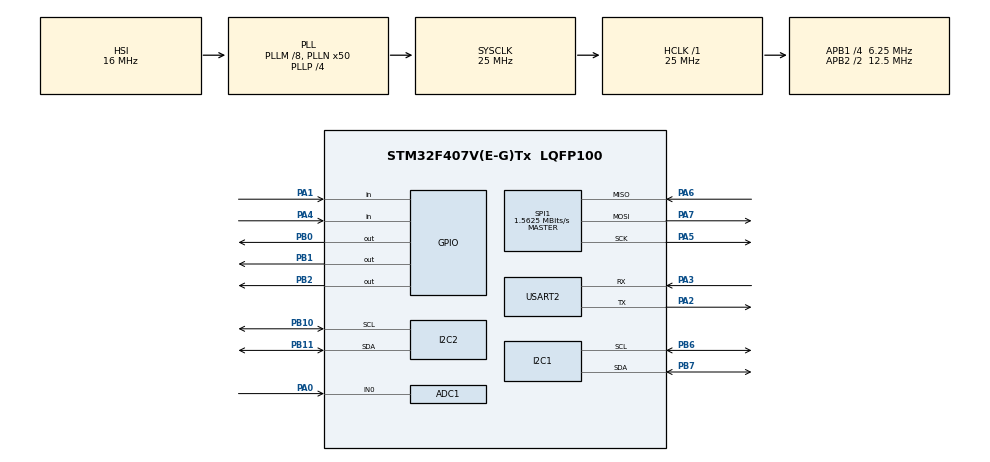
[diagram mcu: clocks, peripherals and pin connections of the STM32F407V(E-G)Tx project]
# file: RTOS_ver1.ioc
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ADC1.Channel-0\#ChannelRegularConversion=ADC_CHANNEL_0
ADC1.DMAContinuousRequests=ENABLE
ADC1.ExternalTrigConv=ADC_EXTERNALTRIGCONV_T2_TRGO
ADC1.NbrOfConversionFlag=1
ADC1.Rank-0\#ChannelRegularConversion=1
ADC1.SamplingTime-0\#ChannelRegularConversion=ADC_SAMPLETIME_3CYCLES
ADC1.master=1
Dma.ADC1.0.Direction=DMA_PERIPH_TO_MEMORY
Dma.ADC1.0.FIFOMode=DMA_FIFOMODE_DISABLE
Dma.ADC1.0.Instance=DMA2_Stream0
Dma.ADC1.0.MemDataAlignment=DMA_MDATAALIGN_HALFWORD
Dma.ADC1.0.MemInc=DMA_MINC_ENABLE
Dma.ADC1.0.Mode=DMA_CIRCULAR
Dma.ADC1.0.PeriphDataAlignment=DMA_PDATAALIGN_HALFWORD
Dma.ADC1.0.PeriphInc=DMA_PINC_DISABLE
Dma.ADC1.0.Priority=DMA_PRIORITY_HIGH
Dma.Request0=ADC1
FREERTOS.Tasks01=defaultTask,24,128,StartDefaultTask,Default,NULL,Dynamic,NULL,NULL
FREERTOS.configUSE_NEWLIB_REENTRANT=1
Mcu.Family=STM32F4
Mcu.Name=STM32F407V(E-G)Tx
Mcu.Package=LQFP100
NVIC.ADC_IRQn=true\:5\:0\:false\:false\:true\:true\:true\:true\:true
NVIC.DMA2_Stream0_IRQn=true\:5\:0\:false\:false\:true\:true\:false\:true\:true
NVIC.PriorityGroup=NVIC_PRIORITYGROUP_4
NVIC.TIM6_DAC_IRQn=true\:15\:0\:false\:false\:true\:false\:false\:true\:true
NVIC.TimeBase=TIM6_DAC_IRQn
NVIC.TimeBaseIP=TIM6
PA0-WKUP.Signal=ADCx_IN0
PA1.Signal=GPIO_Input
PA2.Mode=Asynchronous
PA2.Signal=USART2_TX
PA3.Mode=Asynchronous
PA3.Signal=USART2_RX
PA4.Signal=GPIO_Input
PA5.Mode=Full_Duplex_Master
PA5.Signal=SPI1_SCK
PA6.Mode=Full_Duplex_Master
PA6.Signal=SPI1_MISO
PA7.Mode=Full_Duplex_Master
PA7.Signal=SPI1_MOSI
PB0.GPIO_Speed=GPIO_SPEED_FREQ_HIGH
PB0.Signal=GPIO_Output
PB1.GPIO_Speed=GPIO_SPEED_FREQ_HIGH
PB1.Signal=GPIO_Output
PB10.Mode=I2C
PB10.Signal=I2C2_SCL
PB11.Mode=I2C
PB11.Signal=I2C2_SDA
PB2.GPIO_Speed=GPIO_SPEED_FREQ_HIGH
PB2.Signal=GPIO_Output
PB6.Mode=I2C
PB6.Signal=I2C1_SCL
PB7.Mode=I2C
PB7.Signal=I2C1_SDA
ProjectManager.HeapSize=0x200
ProjectManager.StackSize=0x400
ProjectManager.TargetToolchain=STM32CubeIDE
RCC.48MHZClocksFreq_Value=14285714.285714285
RCC.AHBFreq_Value=25000000
RCC.APB1CLKDivider=RCC_HCLK_DIV4
RCC.APB1Freq_Value=6250000
RCC.APB1TimFreq_Value=12500000
RCC.APB2CLKDivider=RCC_HCLK_DIV2
RCC.APB2Freq_Value=12500000
RCC.APB2TimFreq_Value=25000000
RCC.CortexFreq_Value=25000000
RCC.HCLKFreq_Value=25000000
RCC.HSE_VALUE=8000000
RCC.HSI_VALUE=16000000
RCC.LSE_VALUE=32768
RCC.PLLM=8
RCC.PLLN=50
RCC.PLLP=RCC_PLLP_DIV4
RCC.PLLQ=7
RCC.SYSCLKFreq_VALUE=25000000
RCC.SYSCLKSource=RCC_SYSCLKSOURCE_PLLCLK
RCC.VCOOutputFreq_Value=100000000
SH.ADCx_IN0.0=ADC1_IN0,IN0
SPI1.BaudRatePrescaler=SPI_BAUDRATEPRESCALER_8
SPI1.CalculateBaudRate=1.5625 MBits/s
SPI1.Direction=SPI_DIRECTION_2LINES
SPI1.Mode=SPI_MODE_MASTER
SPI1.VirtualType=VM_MASTER
TIM2.AutoReloadPreload=TIM_AUTORELOAD_PRELOAD_ENABLE
TIM2.Period=3999
TIM2.Prescaler=83
TIM2.TIM_MasterOutputTrigger=TIM_TRGO_UPDATE
USART2.VirtualMode=VM_ASYNC
VP_FREERTOS_VS_CMSIS_V2.Mode=CMSIS_V2
VP_SYS_VS_tim6.Mode=TIM6
VP_TIM2_VS_ClockSourceINT.Mode=Internal
board=STM32F407G-DISC1

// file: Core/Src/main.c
/* USER CODE BEGIN Header */
/**
  ******************************************************************************
  * @file           : main.c
  * @brief          : Main program body
  ******************************************************************************
  * @attention
  *
  * Copyright (c) 2026 STMicroelectronics.
  * All rights reserved.
  *
  * This software is licensed under terms that can be found in the LICENSE file
  * in the root directory of this software component.
  * If no LICENSE file comes with this software, it is provided AS-IS.
  *
  ******************************************************************************
  */
/* USER CODE END Header */
#include "main.h"
#include "cmsis_os.h"

/* USER CODE BEGIN Includes */
#include <stdio.h>
#include <string.h>

#include "FreeRTOS.h"
#include "task.h"
#include "queue.h"
#include "font.h"
#include "mlx90614.h"
#include "st7735.h"     // Replaces character lcd.h with ST7735 SPI Display driver
#include "temperture.h" // Holds TemperatureData_t struct definition
#include "max30102.h"
#include "semphr.h"
#include "ecg.h"

#define FINGER_THRESHOLD 2000

TaskHandle_t TFTTaskHandle = NULL;

/* USER CODE END Includes */

/* USER CODE BEGIN PD */
typedef struct
{
    float objectTemp;
    float ambientTemp;
    uint16_t heartRate;
    float spo2;
    uint16_t ecgVal;
    uint8_t ecgLeadOff;
} SystemData_t;

SystemData_t gSystemData;

/* USER CODE END PD */

ADC_HandleTypeDef hadc1;
DMA_HandleTypeDef hdma_adc1;

I2C_HandleTypeDef hi2c1;
I2C_HandleTypeDef hi2c2;

SPI_HandleTypeDef hspi1;

TIM_HandleTypeDef htim2;

UART_HandleTypeDef huart2;

/* Definitions for defaultTask */
osThreadId_t defaultTaskHandle;
const osThreadAttr_t defaultTask_attributes = {
  .name = "defaultTask",
  .stack_size = 128 * 4,
  .priority = (osPriority_t) osPriorityNormal,
};
/* USER CODE BEGIN PV */
QueueHandle_t xTFTQueue;
QueueHandle_t xUARTQueue;

SemaphoreHandle_t xDataMutex;

TaskHandle_t ECGTaskHandle = NULL;
TaskHandle_t UARTTaskHandle = NULL;

/* USER CODE END PV */

void SystemClock_Config(void);
static void MX_GPIO_Init(void);
static void MX_DMA_Init(void);
static void MX_I2C1_Init(void);
static void MX_SPI1_Init(void);
static void MX_USART2_UART_Init(void);
static void MX_I2C2_Init(void);
static void MX_ADC1_Init(void);
static void MX_TIM2_Init(void);
void StartDefaultTask(void *argument);

/* USER CODE BEGIN PFP */
void vECGTask(void *pvParameters);
void vMax30102Task(void *pvParameters);
void vTemperatureTask(void *pvParameters);
void vTFTTask(void *pvParameters);
void vUARTTask(void *pvParameters);
/* USER CODE END PFP */

/* USER CODE BEGIN 0 */
void vECGTask(void *argument)
{
    ECG_Init(); // Starts TIM2 & ADC DMA

    while(1)
    {
        // Wait for notification from ADC DMA interrupt
        ulTaskNotifyTake(pdTRUE, portMAX_DELAY);

        // Always notify the UART task so vUARTTask can process the DMA buffer
        // and handle lead-off state cleanly ($E,0 or $E,val)
        if(UARTTaskHandle != NULL)
        {
            xTaskNotifyGive(UARTTaskHandle);
        }
    }
}

void vMax30102Task(void *pvParameters)
{
    MAX30102_Data_t sample;

    static uint32_t redBuffer[100];
    static uint32_t irBuffer[100];
    static uint8_t idx = 0;

    while(MAX30102_Init() != HAL_OK)
    {
        HAL_UART_Transmit(&huart2, (uint8_t*)"MAX30102 Init Retry...\r\n", 24, 100);
        HAL_I2C_DeInit(&hi2c1);
        vTaskDelay(pdMS_TO_TICKS(50));
        HAL_I2C_Init(&hi2c1);
        vTaskDelay(pdMS_TO_TICKS(1000));
    }

    while(1)
    {
        if(MAX30102_ReadSample(&sample) == HAL_OK)
        {
            if(sample.ir < FINGER_THRESHOLD)
            {
                xSemaphoreTake(xDataMutex, portMAX_DELAY);

                gSystemData.heartRate = 0;
                gSystemData.spo2 = 0.0f;

                idx = 0;
                memset(redBuffer, 0, sizeof(redBuffer));
                memset(irBuffer, 0, sizeof(irBuffer));

                SystemData_t snapshot = gSystemData;
                xSemaphoreGive(xDataMutex);

                xQueueOverwrite(xTFTQueue, &snapshot);
                xQueueOverwrite(xUARTQueue, &snapshot);

                vTaskDelay(pdMS_TO_TICKS(50));
                continue;
            }

            redBuffer[idx] = sample.red;
            irBuffer[idx]  = sample.ir;

            Calculate_HeartRate(sample.ir);

            xSemaphoreTake(xDataMutex, portMAX_DELAY);
            gSystemData.heartRate = heartRate;

            if(++idx >= 100)
            {
                gSystemData.spo2 = Calculate_SPO2(redBuffer, irBuffer);
                idx = 0;
            }

            SystemData_t snapshot = gSystemData;
            xSemaphoreGive(xDataMutex);

            xQueueOverwrite(xTFTQueue, &snapshot);
            xQueueOverwrite(xUARTQueue, &snapshot);
        }

        vTaskDelay(pdMS_TO_TICKS(20));
    }
}

void vTFTTask(void *pvParameters)
{
    SystemData_t data;
    static SystemData_t oldData = {0};

    ST7735_Init(&hspi1);

    ST7735_FillScreen(ST7735_BLACK);
    ST7735_WriteString(5, 10, "--VITAL MON--", Font_8x12, ST7735_WHITE,  ST7735_BLACK);
    ST7735_WriteString(5, 40, "OBJ :",        Font_8x12, ST7735_WHITE,  ST7735_BLACK);
    ST7735_WriteString(5, 60, "AMB :",        Font_8x12, ST7735_GREEN,  ST7735_BLACK);
    ST7735_WriteString(5, 100,"HR  :",        Font_8x12, ST7735_RED,    ST7735_BLACK);
    ST7735_WriteString(5, 120,"SpO2:",        Font_8x12, ST7735_YELLOW, ST7735_BLACK);

    while(1)
    {
        if(xQueueReceive(xTFTQueue, &data, portMAX_DELAY) == pdPASS)
        {
            char str[32];

            if(oldData.objectTemp != data.objectTemp)
            {
                snprintf(str, sizeof(str), "%.1f C   ", data.objectTemp);
                ST7735_WriteString(45, 40, str, Font_8x12, ST7735_WHITE, ST7735_BLACK);
                oldData.objectTemp = data.objectTemp;
            }

            if(oldData.ambientTemp != data.ambientTemp)
            {
                snprintf(str, sizeof(str), "%.1f C   ", data.ambientTemp);
                ST7735_WriteString(45, 60, str, Font_8x12, ST7735_GREEN, ST7735_BLACK);
                oldData.ambientTemp = data.ambientTemp;
            }

            if(oldData.heartRate != data.heartRate)
            {
                snprintf(str, sizeof(str), "%3d BPM   ", data.heartRate);
                ST7735_WriteString(45, 100, str, Font_8x12, ST7735_RED, ST7735_BLACK);
                oldData.heartRate = data.heartRate;
            }

            if(oldData.spo2 != data.spo2)
            {
                if(data.spo2 == 0.0f)
                {
                    ST7735_WriteString(45, 120, "--- %%    ", Font_8x12, ST7735_YELLOW, ST7735_BLACK);
                }
                else
                {
                    snprintf(str, sizeof(str), "%.1f %%   ", data.spo2);
                    ST7735_WriteString(45, 120, str, Font_8x12, ST7735_YELLOW, ST7735_BLACK);
                }
                oldData.spo2 = data.spo2;
            }
        }
    }
}

void vUARTTask(void *argument)
{
    SystemData_t vitalsSnapshot = {0};
    char txBuffer[96];

    while(1)
    {
        // Clear Overrun Errors on USART2 if any occurred
        if (__HAL_UART_GET_FLAG(&huart2, UART_FLAG_ORE)) {
            __HAL_UART_CLEAR_OREFLAG(&huart2);
        }

        // Non-blocking attempt to refresh latest sensor snapshot
        xQueueReceive(xUARTQueue, &vitalsSnapshot, 0);

        // Wait for DMA half/full transfer notification from ISR
        if(ulTaskNotifyTake(pdTRUE, pdMS_TO_TICKS(10)) > 0)
        {
            uint16_t startIdx = (dmaReady == ECG_FIRST_HALF) ? 0 : ECG_BUFFER_SIZE;

            // Check Lead-Off Detection pins (PA1 = LO+, PA4 = LO-)
            uint8_t isLeadOff = (HAL_GPIO_ReadPin(GPIOA, GPIO_PIN_1) == GPIO_PIN_SET) ||
                                (HAL_GPIO_ReadPin(GPIOA, GPIO_PIN_4) == GPIO_PIN_SET);

            for(int i = startIdx; i < (startIdx + ECG_BUFFER_SIZE); i += 4)
            {
                // Force ADC value to 0 if ECG leads are disconnected
                uint16_t ecgVal = isLeadOff ? 0 : adcBuffer[i];

                int len = snprintf(txBuffer, sizeof(txBuffer),
                                   "$D,%u,%.2f,%.2f,%d,%.2f\r\n",
                                   ecgVal,
                                   vitalsSnapshot.objectTemp,
                                   vitalsSnapshot.ambientTemp,
                                   vitalsSnapshot.heartRate,
                                   vitalsSnapshot.spo2);

                HAL_UART_Transmit(&huart2, (uint8_t*)txBuffer, len, 10);
            }

            dmaReady = ECG_NONE;
        }
    }
}

void vTemperatureTask(void *pvParameters)
{
    while(1)
    {
        float obj = MLX90614_ReadObjectTemp();
        float amb = MLX90614_ReadAmbientTemp();

        if(obj < -100 || amb < -100)
        {
            vTaskDelay(pdMS_TO_TICKS(500));
            continue;
        }

        xSemaphoreTake(xDataMutex, portMAX_DELAY);
        gSystemData.objectTemp = obj;
        gSystemData.ambientTemp = amb;
        SystemData_t snapshot = gSystemData;
        xSemaphoreGive(xDataMutex);

        xQueueOverwrite(xTFTQueue, &snapshot);
        xQueueOverwrite(xUARTQueue, &snapshot);

        vTaskDelay(pdMS_TO_TICKS(500));
    }
}

/* USER CODE END 0 */

int main(void)
{

  /* MCU Configuration--------------------------------------------------------*/

  /* Reset of all peripherals, Initializes the Flash interface and the Systick. */
  HAL_Init();

  /* Configure the system clock */
  SystemClock_Config();

  /* Initialize all configured peripherals */
  MX_GPIO_Init();
  MX_DMA_Init();
  MX_I2C1_Init();
  MX_SPI1_Init();
  MX_USART2_UART_Init();
  MX_I2C2_Init();
  MX_ADC1_Init();
  MX_TIM2_Init();

  /* Init scheduler */
  osKernelInitialize();

  /* USER CODE BEGIN RTOS_QUEUES */
  xTFTQueue  = xQueueCreate(1,sizeof(SystemData_t));
  xUARTQueue = xQueueCreate(1,sizeof(SystemData_t));

  xDataMutex = xSemaphoreCreateMutex();

  if(xTFTQueue==NULL ||
     xUARTQueue==NULL ||
     xDataMutex==NULL)
  {
      Error_Handler();
  }

  /* USER CODE END RTOS_QUEUES */

  /* Create the thread(s) */
  /* creation of defaultTask */
  defaultTaskHandle = osThreadNew(StartDefaultTask, NULL, &defaultTask_attributes);

  /* USER CODE BEGIN RTOS_THREADS */
  memset(&gSystemData, 0, sizeof(gSystemData));
  /* Pass handle to xTaskCreate for UARTTaskHandle */
  if(xTaskCreate(vUARTTask, "UART", 512, NULL, 2, &UARTTaskHandle) != pdPASS)
  {
      Error_Handler();
  }

  if(xTaskCreate(vECGTask, "ECG", 256, NULL, 4, &ECGTaskHandle) != pdPASS)
  {
      Error_Handler();
  }

  if(xTaskCreate(vMax30102Task, "MAX30102", 512, NULL, 3, NULL) != pdPASS)
  {
      Error_Handler();
  }

  if(xTaskCreate(vTemperatureTask, "TEMP", 256, NULL, 2, NULL) != pdPASS)
  {
      Error_Handler();
  }

  if(xTaskCreate(vTFTTask, "TFT", 512, NULL, 1, &TFTTaskHandle) != pdPASS)
  {
      Error_Handler();
  }
  /* USER CODE END RTOS_THREADS */

  /* Start scheduler */
  osKernelStart();

  /* We should never get here as control is now taken by the scheduler */

  /* Infinite loop */
  while (1)
  {

  }
}

void SystemClock_Config(void)
{
  RCC_OscInitTypeDef RCC_OscInitStruct = {0};
  RCC_ClkInitTypeDef RCC_ClkInitStruct = {0};

  /** Configure the main internal regulator output voltage
  */
  __HAL_RCC_PWR_CLK_ENABLE();
  __HAL_PWR_VOLTAGESCALING_CONFIG(PWR_REGULATOR_VOLTAGE_SCALE1);

  /** Initializes the RCC Oscillators according to the specified parameters
  * in the RCC_OscInitTypeDef structure.
  */
  RCC_OscInitStruct.OscillatorType = RCC_OSCILLATORTYPE_HSI;
  RCC_OscInitStruct.HSIState = RCC_HSI_ON;
  RCC_OscInitStruct.HSICalibrationValue = RCC_HSICALIBRATION_DEFAULT;
  RCC_OscInitStruct.PLL.PLLState = RCC_PLL_ON;
  RCC_OscInitStruct.PLL.PLLSource = RCC_PLLSOURCE_HSI;
  RCC_OscInitStruct.PLL.PLLM = 8;
  RCC_OscInitStruct.PLL.PLLN = 50;
  RCC_OscInitStruct.PLL.PLLP = RCC_PLLP_DIV4;
  RCC_OscInitStruct.PLL.PLLQ = 7;
  if (HAL_RCC_OscConfig(&RCC_OscInitStruct) != HAL_OK)
  {
    Error_Handler();
  }

  /** Initializes the CPU, AHB and APB buses clocks
  */
  RCC_ClkInitStruct.ClockType = RCC_CLOCKTYPE_HCLK|RCC_CLOCKTYPE_SYSCLK
                              |RCC_CLOCKTYPE_PCLK1|RCC_CLOCKTYPE_PCLK2;
  RCC_ClkInitStruct.SYSCLKSource = RCC_SYSCLKSOURCE_PLLCLK;
  RCC_ClkInitStruct.AHBCLKDivider = RCC_SYSCLK_DIV1;
  RCC_ClkInitStruct.APB1CLKDivider = RCC_HCLK_DIV4;
  RCC_ClkInitStruct.APB2CLKDivider = RCC_HCLK_DIV2;

  if (HAL_RCC_ClockConfig(&RCC_ClkInitStruct, FLASH_LATENCY_0) != HAL_OK)
  {
    Error_Handler();
  }
}

static void MX_ADC1_Init(void)
{

  ADC_ChannelConfTypeDef sConfig = {0};

  /** Configure the global features of the ADC (Clock, Resolution, Data Alignment and number of conversion)
  */
  hadc1.Instance = ADC1;
  hadc1.Init.ClockPrescaler = ADC_CLOCK_SYNC_PCLK_DIV2;
  hadc1.Init.Resolution = ADC_RESOLUTION_12B;
  hadc1.Init.ScanConvMode = DISABLE;
  hadc1.Init.ContinuousConvMode = DISABLE;
  hadc1.Init.DiscontinuousConvMode = DISABLE;
  hadc1.Init.ExternalTrigConvEdge = ADC_EXTERNALTRIGCONVEDGE_RISING;
  hadc1.Init.ExternalTrigConv = ADC_EXTERNALTRIGCONV_T2_TRGO;
  hadc1.Init.DataAlign = ADC_DATAALIGN_RIGHT;
  hadc1.Init.NbrOfConversion = 1;
  hadc1.Init.DMAContinuousRequests = ENABLE;
  hadc1.Init.EOCSelection = ADC_EOC_SINGLE_CONV;
  if (HAL_ADC_Init(&hadc1) != HAL_OK)
  {
    Error_Handler();
  }

  /** Configure for the selected ADC regular channel its corresponding rank in the sequencer and its sample time.
  */
  sConfig.Channel = ADC_CHANNEL_0;
  sConfig.Rank = 1;
  sConfig.SamplingTime = ADC_SAMPLETIME_3CYCLES;
  if (HAL_ADC_ConfigChannel(&hadc1, &sConfig) != HAL_OK)
  {
    Error_Handler();
  }

}

static void MX_I2C1_Init(void)
{

  hi2c1.Instance = I2C1;
  hi2c1.Init.ClockSpeed = 100000;
  hi2c1.Init.DutyCycle = I2C_DUTYCYCLE_2;
  hi2c1.Init.OwnAddress1 = 0;
  hi2c1.Init.AddressingMode = I2C_ADDRESSINGMODE_7BIT;
  hi2c1.Init.DualAddressMode = I2C_DUALADDRESS_DISABLE;
  hi2c1.Init.OwnAddress2 = 0;
  hi2c1.Init.GeneralCallMode = I2C_GENERALCALL_DISABLE;
  hi2c1.Init.NoStretchMode = I2C_NOSTRETCH_DISABLE;
  if (HAL_I2C_Init(&hi2c1) != HAL_OK)
  {
    Error_Handler();
  }

}

static void MX_I2C2_Init(void)
{

  hi2c2.Instance = I2C2;
  hi2c2.Init.ClockSpeed = 100000;
  hi2c2.Init.DutyCycle = I2C_DUTYCYCLE_2;
  hi2c2.Init.OwnAddress1 = 0;
  hi2c2.Init.AddressingMode = I2C_ADDRESSINGMODE_7BIT;
  hi2c2.Init.DualAddressMode = I2C_DUALADDRESS_DISABLE;
  hi2c2.Init.OwnAddress2 = 0;
  hi2c2.Init.GeneralCallMode = I2C_GENERALCALL_DISABLE;
  hi2c2.Init.NoStretchMode = I2C_NOSTRETCH_DISABLE;
  if (HAL_I2C_Init(&hi2c2) != HAL_OK)
  {
    Error_Handler();
  }

}

static void MX_SPI1_Init(void)
{

  /* SPI1 parameter configuration*/
  hspi1.Instance = SPI1;
  hspi1.Init.Mode = SPI_MODE_MASTER;
  hspi1.Init.Direction = SPI_DIRECTION_2LINES;
  hspi1.Init.DataSize = SPI_DATASIZE_8BIT;
  hspi1.Init.CLKPolarity = SPI_POLARITY_LOW;
  hspi1.Init.CLKPhase = SPI_PHASE_1EDGE;
  hspi1.Init.NSS = SPI_NSS_SOFT;
  hspi1.Init.BaudRatePrescaler = SPI_BAUDRATEPRESCALER_8;
  hspi1.Init.FirstBit = SPI_FIRSTBIT_MSB;
  hspi1.Init.TIMode = SPI_TIMODE_DISABLE;
  hspi1.Init.CRCCalculation = SPI_CRCCALCULATION_DISABLE;
  hspi1.Init.CRCPolynomial = 10;
  if (HAL_SPI_Init(&hspi1) != HAL_OK)
  {
    Error_Handler();
  }

}

static void MX_TIM2_Init(void)
{

  TIM_ClockConfigTypeDef sClockSourceConfig = {0};
  TIM_MasterConfigTypeDef sMasterConfig = {0};

  htim2.Instance = TIM2;
  htim2.Init.Prescaler = 83;
  htim2.Init.CounterMode = TIM_COUNTERMODE_UP;
  htim2.Init.Period = 3999;
  htim2.Init.ClockDivision = TIM_CLOCKDIVISION_DIV1;
  htim2.Init.AutoReloadPreload = TIM_AUTORELOAD_PRELOAD_ENABLE;
  if (HAL_TIM_Base_Init(&htim2) != HAL_OK)
  {
    Error_Handler();
  }
  sClockSourceConfig.ClockSource = TIM_CLOCKSOURCE_INTERNAL;
  if (HAL_TIM_ConfigClockSource(&htim2, &sClockSourceConfig) != HAL_OK)
  {
    Error_Handler();
  }
  sMasterConfig.MasterOutputTrigger = TIM_TRGO_UPDATE;
  sMasterConfig.MasterSlaveMode = TIM_MASTERSLAVEMODE_DISABLE;
  if (HAL_TIMEx_MasterConfigSynchronization(&htim2, &sMasterConfig) != HAL_OK)
  {
    Error_Handler();
  }

}

static void MX_USART2_UART_Init(void)
{

  huart2.Instance = USART2;
  huart2.Init.BaudRate = 115200;
  huart2.Init.WordLength = UART_WORDLENGTH_8B;
  huart2.Init.StopBits = UART_STOPBITS_1;
  huart2.Init.Parity = UART_PARITY_NONE;
  huart2.Init.Mode = UART_MODE_TX_RX;
  huart2.Init.HwFlowCtl = UART_HWCONTROL_NONE;
  huart2.Init.OverSampling = UART_OVERSAMPLING_16;
  if (HAL_UART_Init(&huart2) != HAL_OK)
  {
    Error_Handler();
  }

}

static void MX_DMA_Init(void)
{

  /* DMA controller clock enable */
  __HAL_RCC_DMA2_CLK_ENABLE();

  /* DMA interrupt init */
  /* DMA2_Stream0_IRQn interrupt configuration */
  HAL_NVIC_SetPriority(DMA2_Stream0_IRQn, 5, 0);
  HAL_NVIC_EnableIRQ(DMA2_Stream0_IRQn);

}

static void MX_GPIO_Init(void)
{
  GPIO_InitTypeDef GPIO_InitStruct = {0};

  /* GPIO Ports Clock Enable */
  __HAL_RCC_GPIOA_CLK_ENABLE();
  __HAL_RCC_GPIOB_CLK_ENABLE();

  /*Configure GPIO pin Output Level */
  HAL_GPIO_WritePin(GPIOB, GPIO_PIN_0|GPIO_PIN_1|GPIO_PIN_2, GPIO_PIN_RESET);

  /*Configure GPIO pins : PA1 PA4 */
  GPIO_InitStruct.Pin = GPIO_PIN_1|GPIO_PIN_4;
  GPIO_InitStruct.Mode = GPIO_MODE_INPUT;
  GPIO_InitStruct.Pull = GPIO_NOPULL;
  HAL_GPIO_Init(GPIOA, &GPIO_InitStruct);

  /*Configure GPIO pins : PB0 PB1 PB2 */
  GPIO_InitStruct.Pin = GPIO_PIN_0|GPIO_PIN_1|GPIO_PIN_2;
  GPIO_InitStruct.Mode = GPIO_MODE_OUTPUT_PP;
  GPIO_InitStruct.Pull = GPIO_NOPULL;
  GPIO_InitStruct.Speed = GPIO_SPEED_FREQ_HIGH;
  HAL_GPIO_Init(GPIOB, &GPIO_InitStruct);

}

void StartDefaultTask(void *argument)
{
  for(;;)
  {
    osDelay(1);
  }
}

void HAL_TIM_PeriodElapsedCallback(TIM_HandleTypeDef *htim)
{
  if (htim->Instance == TIM6)
  {
    HAL_IncTick();
  }
}

void Error_Handler(void)
{
  __disable_irq();
  while (1)
  {
  }
}
